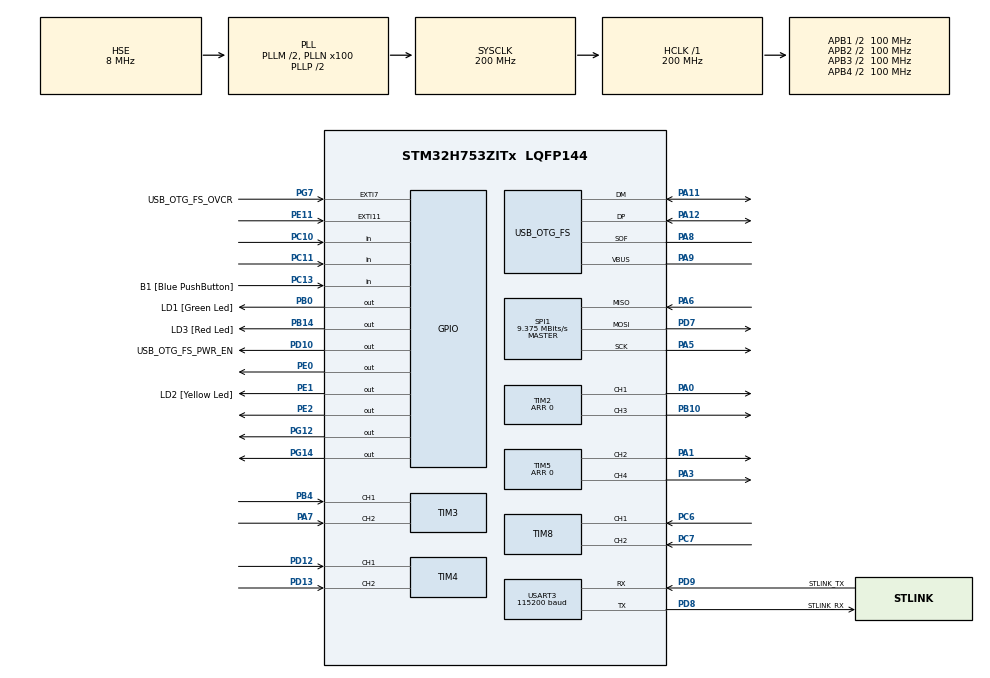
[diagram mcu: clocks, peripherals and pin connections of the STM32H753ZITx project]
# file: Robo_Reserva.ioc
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CORTEX_M7.CPU_DCache=Disabled
CORTEX_M7.CPU_ICache=Disabled
CORTEX_M7.MPU_Control=__NULL
Dma.Request0=TIM2_CH1
Dma.Request1=TIM2_CH3
Dma.Request2=TIM5_CH2
Dma.Request3=TIM5_CH4
Dma.TIM2_CH1.0.Direction=DMA_MEMORY_TO_PERIPH
Dma.TIM2_CH1.0.EventEnable=DISABLE
Dma.TIM2_CH1.0.FIFOMode=DMA_FIFOMODE_ENABLE
Dma.TIM2_CH1.0.FIFOThreshold=DMA_FIFO_THRESHOLD_1QUARTERFULL
Dma.TIM2_CH1.0.Instance=DMA1_Stream5
Dma.TIM2_CH1.0.MemBurst=DMA_MBURST_SINGLE
Dma.TIM2_CH1.0.MemDataAlignment=DMA_MDATAALIGN_WORD
Dma.TIM2_CH1.0.MemInc=DMA_MINC_ENABLE
Dma.TIM2_CH1.0.Mode=DMA_NORMAL
Dma.TIM2_CH1.0.PeriphBurst=DMA_PBURST_SINGLE
Dma.TIM2_CH1.0.PeriphDataAlignment=DMA_PDATAALIGN_WORD
Dma.TIM2_CH1.0.PeriphInc=DMA_PINC_DISABLE
Dma.TIM2_CH1.0.Polarity=HAL_DMAMUX_REQ_GEN_RISING
Dma.TIM2_CH1.0.Priority=DMA_PRIORITY_HIGH
Dma.TIM2_CH1.0.RequestNumber=1
Dma.TIM2_CH1.0.SignalID=NONE
Dma.TIM2_CH1.0.SyncEnable=DISABLE
Dma.TIM2_CH1.0.SyncPolarity=HAL_DMAMUX_SYNC_NO_EVENT
Dma.TIM2_CH1.0.SyncRequestNumber=1
Dma.TIM2_CH1.0.SyncSignalID=NONE
Dma.TIM2_CH3.1.Direction=DMA_MEMORY_TO_PERIPH
Dma.TIM2_CH3.1.EventEnable=DISABLE
Dma.TIM2_CH3.1.FIFOMode=DMA_FIFOMODE_ENABLE
Dma.TIM2_CH3.1.FIFOThreshold=DMA_FIFO_THRESHOLD_1QUARTERFULL
Dma.TIM2_CH3.1.Instance=DMA1_Stream1
Dma.TIM2_CH3.1.MemBurst=DMA_MBURST_SINGLE
Dma.TIM2_CH3.1.MemDataAlignment=DMA_MDATAALIGN_WORD
Dma.TIM2_CH3.1.MemInc=DMA_MINC_ENABLE
Dma.TIM2_CH3.1.Mode=DMA_NORMAL
Dma.TIM2_CH3.1.PeriphBurst=DMA_PBURST_SINGLE
Dma.TIM2_CH3.1.PeriphDataAlignment=DMA_PDATAALIGN_WORD
Dma.TIM2_CH3.1.PeriphInc=DMA_PINC_DISABLE
Dma.TIM2_CH3.1.Polarity=HAL_DMAMUX_REQ_GEN_RISING
Dma.TIM2_CH3.1.Priority=DMA_PRIORITY_HIGH
Dma.TIM2_CH3.1.RequestNumber=1
Dma.TIM2_CH3.1.SignalID=NONE
Dma.TIM2_CH3.1.SyncEnable=DISABLE
Dma.TIM2_CH3.1.SyncPolarity=HAL_DMAMUX_SYNC_NO_EVENT
Dma.TIM2_CH3.1.SyncRequestNumber=1
Dma.TIM2_CH3.1.SyncSignalID=NONE
Dma.TIM5_CH2.2.Direction=DMA_MEMORY_TO_PERIPH
Dma.TIM5_CH2.2.EventEnable=DISABLE
Dma.TIM5_CH2.2.FIFOMode=DMA_FIFOMODE_ENABLE
Dma.TIM5_CH2.2.FIFOThreshold=DMA_FIFO_THRESHOLD_1QUARTERFULL
Dma.TIM5_CH2.2.Instance=DMA1_Stream4
Dma.TIM5_CH2.2.MemBurst=DMA_MBURST_SINGLE
Dma.TIM5_CH2.2.MemDataAlignment=DMA_MDATAALIGN_WORD
Dma.TIM5_CH2.2.MemInc=DMA_MINC_ENABLE
Dma.TIM5_CH2.2.Mode=DMA_NORMAL
Dma.TIM5_CH2.2.PeriphBurst=DMA_PBURST_SINGLE
Dma.TIM5_CH2.2.PeriphDataAlignment=DMA_PDATAALIGN_WORD
Dma.TIM5_CH2.2.PeriphInc=DMA_PINC_DISABLE
Dma.TIM5_CH2.2.Polarity=HAL_DMAMUX_REQ_GEN_RISING
Dma.TIM5_CH2.2.Priority=DMA_PRIORITY_HIGH
Dma.TIM5_CH2.2.RequestNumber=1
Dma.TIM5_CH2.2.SignalID=NONE
Dma.TIM5_CH2.2.SyncEnable=DISABLE
Dma.TIM5_CH2.2.SyncPolarity=HAL_DMAMUX_SYNC_NO_EVENT
Dma.TIM5_CH2.2.SyncRequestNumber=1
Dma.TIM5_CH2.2.SyncSignalID=NONE
Dma.TIM5_CH4.3.Direction=DMA_MEMORY_TO_PERIPH
Dma.TIM5_CH4.3.EventEnable=DISABLE
Dma.TIM5_CH4.3.FIFOMode=DMA_FIFOMODE_ENABLE
Dma.TIM5_CH4.3.FIFOThreshold=DMA_FIFO_THRESHOLD_1QUARTERFULL
Dma.TIM5_CH4.3.Instance=DMA1_Stream3
Dma.TIM5_CH4.3.MemBurst=DMA_MBURST_SINGLE
Dma.TIM5_CH4.3.MemDataAlignment=DMA_MDATAALIGN_WORD
Dma.TIM5_CH4.3.MemInc=DMA_MINC_ENABLE
Dma.TIM5_CH4.3.Mode=DMA_NORMAL
Dma.TIM5_CH4.3.PeriphBurst=DMA_PBURST_SINGLE
Dma.TIM5_CH4.3.PeriphDataAlignment=DMA_PDATAALIGN_WORD
Dma.TIM5_CH4.3.PeriphInc=DMA_PINC_DISABLE
Dma.TIM5_CH4.3.Polarity=HAL_DMAMUX_REQ_GEN_RISING
Dma.TIM5_CH4.3.Priority=DMA_PRIORITY_HIGH
Dma.TIM5_CH4.3.RequestNumber=1
Dma.TIM5_CH4.3.SignalID=NONE
Dma.TIM5_CH4.3.SyncEnable=DISABLE
Dma.TIM5_CH4.3.SyncPolarity=HAL_DMAMUX_SYNC_NO_EVENT
Dma.TIM5_CH4.3.SyncRequestNumber=1
Dma.TIM5_CH4.3.SyncSignalID=NONE
Mcu.Family=STM32H7
Mcu.Name=STM32H753ZITx
Mcu.Package=LQFP144
NVIC.DMA1_Stream1_IRQn=true\:0\:0\:false\:false\:true\:false\:true\:true
NVIC.DMA1_Stream3_IRQn=true\:0\:0\:false\:false\:true\:false\:true\:true
NVIC.DMA1_Stream4_IRQn=true\:0\:0\:false\:false\:true\:false\:true\:true
NVIC.DMA1_Stream5_IRQn=true\:0\:0\:false\:false\:true\:false\:true\:true
NVIC.EXTI15_10_IRQn=true\:0\:0\:false\:false\:true\:true\:true\:true
NVIC.OTG_FS_IRQn=true\:0\:0\:false\:false\:true\:false\:true\:true
NVIC.PriorityGroup=NVIC_PRIORITYGROUP_4
NVIC.TIM15_IRQn=true\:0\:0\:false\:false\:true\:true\:true\:true
PA0.Signal=S_TIM2_CH1_ETR
PA1.Signal=S_TIM5_CH2
PA11.Mode=Device_Only
PA11.Signal=USB_OTG_FS_DM
PA12.Mode=Device_Only
PA12.Signal=USB_OTG_FS_DP
PA3.Signal=S_TIM5_CH4
PA5.Mode=Full_Duplex_Master
PA5.Signal=SPI1_SCK
PA6.Mode=Full_Duplex_Master
PA6.Signal=SPI1_MISO
PA7.Signal=S_TIM3_CH2
PA8.Mode=Activate_SOF_FS
PA8.Signal=USB_OTG_FS_SOF
PA9.Mode=Activate_VBUS
PA9.Signal=USB_OTG_FS_VBUS
PB0.GPIO_Label=LD1 [Green Led]
PB0.Signal=GPIO_Output
PB10.Signal=S_TIM2_CH3
PB14.GPIO_Label=LD3 [Red Led]
PB14.Signal=GPIO_Output
PB4\ (NJTRST).Signal=S_TIM3_CH1
PC10.GPIO_PuPd=GPIO_PULLDOWN
PC10.Signal=GPIO_Input
PC11.GPIO_PuPd=GPIO_PULLDOWN
PC11.Signal=GPIO_Input
PC13.GPIO_Label=B1 [Blue PushButton]
PC13.Signal=GPIO_Input
PC14-OSC32_IN\ (OSC32_IN).Mode=LSE-External-Oscillator
PC14-OSC32_IN\ (OSC32_IN).Signal=RCC_OSC32_IN
PC15-OSC32_OUT\ (OSC32_OUT).Mode=LSE-External-Oscillator
PC15-OSC32_OUT\ (OSC32_OUT).Signal=RCC_OSC32_OUT
PC6.Signal=S_TIM8_CH1
PC7.Signal=S_TIM8_CH2
PD10.GPIO_Label=USB_OTG_FS_PWR_EN
PD10.Signal=GPIO_Output
PD12.Signal=S_TIM4_CH1
PD13.Signal=S_TIM4_CH2
PD7.Mode=Full_Duplex_Master
PD7.Signal=SPI1_MOSI
PD8.GPIO_Label=STLINK_RX
PD8.Mode=Asynchronous
PD8.Signal=USART3_TX
PD9.GPIO_Label=STLINK_TX
PD9.Mode=Asynchronous
PD9.Signal=USART3_RX
PE0.Signal=GPIO_Output
PE1.GPIO_Label=LD2 [Yellow Led]
PE1.Signal=GPIO_Output
PE11.Signal=GPXTI11
PE2.Signal=GPIO_Output
PG12.Signal=GPIO_Output
PG14.Signal=GPIO_Output
PG7.GPIO_Label=USB_OTG_FS_OVCR
PG7.Signal=GPXTI7
PH0-OSC_IN\ (PH0).Mode=HSE-External-Clock-Source
PH0-OSC_IN\ (PH0).Signal=RCC_OSC_IN
PH1-OSC_OUT\ (PH1).Signal=RCC_OSC_OUT
ProjectManager.HeapSize=0x200
ProjectManager.StackSize=0x400
ProjectManager.TargetToolchain=STM32CubeIDE
RCC.ADCCLockSelection=RCC_ADCCLKSOURCE_PLL2
RCC.ADCFreq_Value=75000000
RCC.APB1Freq_Value=100000000
RCC.APB2Freq_Value=100000000
RCC.APB3Freq_Value=100000000
RCC.APB4Freq_Value=100000000
RCC.CECCLockSelection=RCC_CECCLKSOURCE_LSI
RCC.CKPERSourceSelection=RCC_CLKPSOURCE_HSI
RCC.CSI_VALUE=4000000
RCC.CortexFreq_Value=200000000
RCC.Cortex_Div=SYSTICK_CLKSOURCE_HCLK
RCC.Cortex_DivARG=SystemCoreClock/1000
RCC.D1CPRE=RCC_SYSCLK_DIV1
RCC.D1PPRE=RCC_APB3_DIV2
RCC.D2PPRE1=RCC_APB1_DIV2
RCC.D2PPRE2=RCC_APB2_DIV2
RCC.D3PPRE=RCC_APB4_DIV2
RCC.DFSDMCLockSelection=RCC_DFSDM1CLKSOURCE_D2PCLK1
RCC.DIVM1=2
RCC.DIVM2=8
RCC.DIVM3=32
RCC.DIVN1=100
RCC.DIVN2=150
RCC.DIVN3=129
RCC.DIVP2=2
RCC.DIVP3=2
RCC.DIVQ1=4
RCC.DIVQ2=2
RCC.DIVQ3=2
RCC.DIVR1=2
RCC.DIVR2=2
RCC.DIVR3=2
RCC.DSICLockSelection=RCC_DSICLKSOURCE_PHY
RCC.DSIPHY_Div=8
RCC.DSITX_Div=4
RCC.DSI_PHY_VALUE=12288000
RCC.EXTERNAL_CLOCK_VALUE=12288000
RCC.FDCANCLockSelection=RCC_FDCANCLKSOURCE_PLL
RCC.FMCCLockSelection=RCC_FMCCLKSOURCE_D1HCLK
RCC.HCLKFreq_Value=200000000
RCC.HPRE=RCC_HCLK_DIV1
RCC.HSE_VALUE=8000000
RCC.HSIDiv=RCC_PLLSAIDIVR_1
RCC.HSI_VALUE=64000000
RCC.I2C123CLockSelection=RCC_I2C123CLKSOURCE_D2PCLK1
RCC.I2C4CLockSelection=RCC_I2C4CLKSOURCE_D3PCLK1
RCC.LPTIM1CLockSelection=RCC_LPTIM1CLKSOURCE_D2PCLK1
RCC.LPTIM2CLockSelection=RCC_LPTIM2CLKSOURCE_D3PCLK1
RCC.LPTIM345CLockSelection=RCC_LPTIM345CLKSOURCE_D3PCLK1
RCC.LPUART1CLockSelection=RCC_LPUART1CLKSOURCE_D3PCLK1
RCC.PLL1_VCI_Range-AdvancedSettings=RCC_PLL1VCIRANGE_0
RCC.PLL2FRACN=0
RCC.PLL2_VCI_Range-AdvancedSettings=RCC_PLL2VCIRANGE_0
RCC.PLL3_VCI_Range-AdvancedSettings=RCC_PLL3VCIRANGE_0
RCC.PLLDSIDev=2
RCC.PLLDSIIDF=DSI_PLL_IN_DIV1
RCC.PLLDSIMult=2
RCC.PLLDSINDIV=20
RCC.PLLDSIODF=DSI_PLL_OUT_DIV1
RCC.PLLFRACN=0
RCC.PLLSourceVirtual=RCC_PLLSOURCE_HSE
RCC.PWR_Regulator_Voltage_Scale=PWR_REGULATOR_VOLTAGE_SCALE2
RCC.QSPICLockSelection=RCC_QSPICLKSOURCE_D1HCLK
RCC.RC48_VALUE=48000000
RCC.RCC_MCO1Source=RCC_MCO1SOURCE_HSI
RCC.RCC_MCO2Source=RCC_MCO2SOURCE_SYSCLK
RCC.RCC_MCODiv1=RCC_MCODIV_1
RCC.RCC_MCODiv2=RCC_MCODIV_1
RCC.RCC_RTC_Clock_Source_FROM_HSE=RCC_RTCCLKSOURCE_HSE_DIV2
RCC.RNGCLockSelection=RCC_RNGCLKSOURCE_HSI48
RCC.SAI1CLockSelection=RCC_SAI1CLKSOURCE_PLL
RCC.SAI23CLockSelection=RCC_SAI23CLKSOURCE_PLL
RCC.SAI4ACLockSelection=RCC_SAI4ACLKSOURCE_PLL
RCC.SAI4BCLockSelection=RCC_SAI4BCLKSOURCE_PLL
RCC.SPDIFCLockSelection=RCC_SPDIFRXCLKSOURCE_PLL
RCC.SPI123CLockSelection=RCC_SPI123CLKSOURCE_PLL2
RCC.SPI6CLockSelection=RCC_SPI6CLKSOURCE_D3PCLK1
RCC.SWPCLockSelection=RCC_SWPMI1CLKSOURCE_D2PCLK1
RCC.SYSCLKFreq_VALUE=200000000
RCC.SYSCLKSource=RCC_SYSCLKSOURCE_PLLCLK
RCC.Spi45ClockSelection=RCC_SPI45CLKSOURCE_D2PCLK1
RCC.SupplySource=PWR_LDO_SUPPLY
RCC.USART16CLockSelection=RCC_USART16CLKSOURCE_D2PCLK2
RCC.USART234578CLockSelection=RCC_USART234578CLKSOURCE_PLL2
RCC.USBCLockSelection=RCC_USBCLKSOURCE_HSI48
RCC.USBFreq_Value=48000000
SH.S_TIM2_CH1_ETR.0=TIM2_CH1,PWM Generation1 CH1
SH.S_TIM2_CH3.0=TIM2_CH3,PWM Generation3 CH3
SH.S_TIM3_CH1.0=TIM3_CH1,Encoder_Interface
SH.S_TIM3_CH2.0=TIM3_CH2,Encoder_Interface
SH.S_TIM4_CH1.0=TIM4_CH1,Encoder_Interface
SH.S_TIM4_CH2.0=TIM4_CH2,Encoder_Interface
SH.S_TIM5_CH2.0=TIM5_CH2,PWM Generation2 CH2
SH.S_TIM5_CH4.0=TIM5_CH4,PWM Generation4 CH4
SH.S_TIM8_CH1.0=TIM8_CH1,Encoder_Interface
SH.S_TIM8_CH2.0=TIM8_CH2,Encoder_Interface
SPI1.BaudRatePrescaler=SPI_BAUDRATEPRESCALER_8
SPI1.CalculateBaudRate=9.375 MBits/s
SPI1.DataSize=SPI_DATASIZE_8BIT
SPI1.Direction=SPI_DIRECTION_2LINES
SPI1.Mode=SPI_MODE_MASTER
SPI1.VirtualType=VM_MASTER
TIM15.Period=99
TIM15.Prescaler=19999
TIM2.Channel-PWM\ Generation1\ CH1=TIM_CHANNEL_1
TIM2.Channel-PWM\ Generation3\ CH3=TIM_CHANNEL_3
TIM2.Period=0
TIM3.EncoderMode=TIM_ENCODERMODE_TI12
TIM3.IC1Polarity=TIM_ICPOLARITY_FALLING
TIM3.IC2Polarity=TIM_ICPOLARITY_FALLING
TIM4.EncoderMode=TIM_ENCODERMODE_TI12
TIM4.IC1Polarity=TIM_ICPOLARITY_FALLING
TIM4.IC2Polarity=TIM_ICPOLARITY_FALLING
TIM5.Channel-PWM\ Generation2\ CH2=TIM_CHANNEL_2
TIM5.Channel-PWM\ Generation4\ CH4=TIM_CHANNEL_4
TIM5.Period=0
TIM8.EncoderMode=TIM_ENCODERMODE_TI12
TIM8.IC1Polarity=TIM_ICPOLARITY_FALLING
TIM8.IC2Polarity=TIM_ICPOLARITY_FALLING
USART3.AutoBaudRateEnableParam=UART_ADVFEATURE_AUTOBAUDRATE_DISABLE
USART3.BaudRate=115200
USART3.ClockPrescaler=PRESCALER_DIV1
USART3.DMADisableonRxErrorParam=ADVFEATURE_DMA_ENABLEONRXERROR
USART3.DataInvertParam=ADVFEATURE_DATAINV_DISABLE
USART3.FIFOMode=FIFOMODE_DISABLE
USART3.MSBFirstParam=ADVFEATURE_MSBFIRST_DISABLE
USART3.Mode=MODE_TX_RX
USART3.OneBitSampling=UART_ONE_BIT_SAMPLE_DISABLE
USART3.OverSampling=UART_OVERSAMPLING_16
USART3.OverrunDisableParam=ADVFEATURE_OVERRUN_ENABLE
USART3.Parity=PARITY_NONE
USART3.RXFIFOThreshold=RXFIFO_THRESHOLD_1EIGHTHFULL
USART3.RxPinLevelInvertParam=ADVFEATURE_RXINV_DISABLE
USART3.StopBits=STOPBITS_1
USART3.SwapParam=ADVFEATURE_SWAP_DISABLE
USART3.TXFIFOThreshold=TXFIFO_THRESHOLD_1EIGHTHFULL
USART3.TxPinLevelInvertParam=ADVFEATURE_TXINV_DISABLE
USART3.VirtualMode-Asynchronous=VM_ASYNC
USART3.WordLength=WORDLENGTH_8B
USB_DEVICE.CLASS_NAME_FS=CDC
USB_DEVICE.VirtualMode-CDC_FS=Cdc
USB_DEVICE.VirtualModeFS=Cdc_FS
USB_OTG_FS.Sof_enable=ENABLE
USB_OTG_FS.VirtualMode=Device_Only
USB_OTG_FS.battery_charging_enable=ENABLE
USB_OTG_FS.low_power_enable=DISABLE
USB_OTG_FS.lpm_enable=DISABLE
USB_OTG_FS.use_dedicated_ep1=DISABLE
USB_OTG_FS.vbus_sensing_enable=ENABLE
VP_TIM15_VS_ClockSourceINT.Mode=Internal
VP_USB_DEVICE_VS_USB_DEVICE_CDC_FS.Mode=CDC_FS
board=NUCLEO-H753ZI

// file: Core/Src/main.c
/* USER CODE BEGIN Header */
/**
  ******************************************************************************
  * @file           : main.c
  * @brief          : Main program body
  ******************************************************************************
  * @attention
  *
  * Copyright (c) 2024 STMicroelectronics.
  * All rights reserved.
  *
  * This software is licensed under terms that can be found in the LICENSE file
  * in the root directory of this software component.
  * If no LICENSE file comes with this software, it is provided AS-IS.
  *
  ******************************************************************************
  */
/* USER CODE END Header */
#include "main.h"
#include "dma.h"
#include "spi.h"
#include "tim.h"
#include "usart.h"
#include "usb_device.h"
#include "gpio.h"

/* USER CODE BEGIN Includes */
#include "dshot.h"
#include "string.h"
#include "nrf24l01.h"
/* USER CODE END Includes */

/* USER CODE BEGIN PV */
int RxData[6] = {0,0,0,0,0,0};
int Ack_data = 1;
int vet_senhas[6]= {111,112,113,114,115,116};
int senhas[2] = {0,0};
int old_mensagem[6]={0,0,0,0,0,0};
uint32_t contador =0;
float velocidade[4]={0,0,0,0};
float ref[4] = {0,0,0,0};
uint16_t motores[4] = {0,0,0,0};
/* USER CODE END PV */

void SystemClock_Config(void);
void PeriphCommonClock_Config(void);

/* USER CODE BEGIN 0 */
void Tx_mode(uint8_t Adress[5]){

	if(NRF_Init(&hspi1, GPIOG, GPIO_PIN_12, GPIOG, GPIO_PIN_14) != NRF_OK){
		Error_Handler();
	}

	NRF_Reset();
	NRF_WriteRegister(NRF_REG_TX_ADDR,Adress,5);
	//Para enviar a mensagem usar função transmitandwait
}

void Rx_mode(uint8_t Adress[5]){

	if(NRF_Init(&hspi1, GPIOG, GPIO_PIN_12, GPIOG, GPIO_PIN_14) != NRF_OK){
		Error_Handler();
	}

	NRF_Reset();

	NRF_WriteRegister(NRF_REG_RX_ADDR_P0,Adress,5);

	NRF_WriteRegisterByte(NRF_REG_RX_PW_P0,sizeof(RxData));

	NRF_EnterMode(NRF_MODE_RX);
}

NRF_Status ReceiveData (uint8_t *data, uint32_t len){
	NRF_Status ret = NRF_ERROR;
	uint8_t status = NRF_ReadStatus();
	uint8_t STATUS_REGISTER_RX_DR_BIT = 6;
	if(status & (1<<STATUS_REGISTER_RX_DR_BIT)){
		NRF_ReadPayload(data,len);
		ret = NRF_OK;
		NRF_SetRegisterBit(NRF_REG_STATUS, 6);
	} else {
		ret = NRF_ERROR;
	}
	return ret;
}
/* USER CODE END 0 */

int main(void)
{

  /* MCU Configuration--------------------------------------------------------*/

  /* Reset of all peripherals, Initializes the Flash interface and the Systick. */
  HAL_Init();

  /* Configure the system clock */
  SystemClock_Config();

/* Configure the peripherals common clocks */
  PeriphCommonClock_Config();

  /* Initialize all configured peripherals */
  MX_GPIO_Init();
  MX_DMA_Init();
  MX_SPI1_Init();
  MX_USB_DEVICE_Init();
  MX_TIM3_Init();
  MX_TIM4_Init();
  MX_TIM8_Init();
  MX_TIM2_Init();
  MX_TIM5_Init();
  MX_USART3_UART_Init();
  MX_TIM15_Init();
  /* USER CODE BEGIN 2 */
  HAL_TIM_Encoder_Start_IT(&htim4, TIM_CHANNEL_ALL);
  //HAL_TIM_Encoder_Start_IT(&htim1, TIM_CHANNEL_ALL);
  HAL_TIM_Encoder_Start_IT(&htim8, TIM_CHANNEL_ALL);
  HAL_TIM_Encoder_Start_IT(&htim3, TIM_CHANNEL_ALL);
  if (HAL_TIM_Base_Start_IT(&htim15) != HAL_OK)
    	    {
    	      /* Starting Error */
    	      Error_Handler();
    	    }
    	  dshot_init(DSHOT300);
  /* USER CODE END 2 */

  /* Infinite loop */
  /* USER CODE BEGIN WHILE */
  GPIO_PinState PinState[2];

      //definicao do robo por meio da entrada de tensao no pinc10 e Pinc11//
      PinState[0]= HAL_GPIO_ReadPin(GPIOC,GPIO_PIN_10);
      PinState[1]= HAL_GPIO_ReadPin(GPIOC,GPIO_PIN_11);

      uint8_t TxAdress0[] = {1,2,3,4,5};
      Rx_mode(TxAdress0);
      if((PinState[0]==0)&&(PinState[1]==0)){
    	  NRF_WriteRegisterByte(NRF_REG_RF_CH,0x07); // Canal 3
    	  for(uint8_t k=0;k<2;k++){
    		  senhas[k] = vet_senhas[k];
    	  }
      }
      if(PinState[0]==1){
    	  NRF_WriteRegisterByte(NRF_REG_RF_CH,0x03); // Canal 4
    	  HAL_GPIO_TogglePin(GPIOE, GPIO_PIN_0);
    	  for(uint8_t k=0;k<2;k++){
    		  senhas[k] = vet_senhas[k+2];
    	  	  }
      }
      if(PinState[1]==1){
    	  NRF_WriteRegisterByte(NRF_REG_RF_CH,0x05); //Canal 5
    	  HAL_GPIO_TogglePin(GPIOE, GPIO_PIN_2);
    	  for(uint8_t k=0;k<2;k++){
    		  	  senhas[k] = vet_senhas[k+4];
    	  	  }
      }
      NRF_Status ret = NRF_OK;
      char message[100]={'\0'};
          //Inicializa referencia como zero
	  HAL_Delay(5000);

	  uint32_t Leitura= 0;
	  float Leitura2 = 0;
	  extern volatile float vel[4];
	  //extern volatile float u[4];
	  //extern volatile float error[4];
	  uint32_t contador = 0;
	  extern volatile uint32_t count;
  while (1)
  {
	 ret = ReceiveData(RxData, sizeof(RxData));
	 if(ret == NRF_OK){
		 HAL_GPIO_TogglePin(GPIOB, GPIO_PIN_0);
	 }
	 if((RxData[0]==senhas[0])&&(RxData[5]==senhas[1])){
	  		for(uint8_t n=0;n<6;n++){
	  		  old_mensagem[n] = RxData[n];
	  		}
	  	  }
	 for(uint8_t n=0; n<4;n++){
		 ref[n] = (float)old_mensagem[n+1]/100;
		 //ref[n] = 3;
	   	  }
	 //print para o puttyW
	  sprintf(message, "%f %f %f %f\n \r",vel[0],vel[1],vel[2],vel[3]);
	  CDC_Transmit_FS(message,sizeof(message));
    /* USER CODE END WHILE */

    /* USER CODE BEGIN 3 */
	HAL_Delay(5);
  }
  /* USER CODE END 3 */
}

void SystemClock_Config(void)
{
  RCC_OscInitTypeDef RCC_OscInitStruct = {0};
  RCC_ClkInitTypeDef RCC_ClkInitStruct = {0};

  /** Supply configuration update enable
  */
  HAL_PWREx_ConfigSupply(PWR_LDO_SUPPLY);

  /** Configure the main internal regulator output voltage
  */
  __HAL_PWR_VOLTAGESCALING_CONFIG(PWR_REGULATOR_VOLTAGE_SCALE2);

  while(!__HAL_PWR_GET_FLAG(PWR_FLAG_VOSRDY)) {}

  /** Initializes the RCC Oscillators according to the specified parameters
  * in the RCC_OscInitTypeDef structure.
  */
  RCC_OscInitStruct.OscillatorType = RCC_OSCILLATORTYPE_HSI48|RCC_OSCILLATORTYPE_HSE;
  RCC_OscInitStruct.HSEState = RCC_HSE_BYPASS;
  RCC_OscInitStruct.HSI48State = RCC_HSI48_ON;
  RCC_OscInitStruct.PLL.PLLState = RCC_PLL_ON;
  RCC_OscInitStruct.PLL.PLLSource = RCC_PLLSOURCE_HSE;
  RCC_OscInitStruct.PLL.PLLM = 2;
  RCC_OscInitStruct.PLL.PLLN = 100;
  RCC_OscInitStruct.PLL.PLLP = 2;
  RCC_OscInitStruct.PLL.PLLQ = 4;
  RCC_OscInitStruct.PLL.PLLR = 2;
  RCC_OscInitStruct.PLL.PLLRGE = RCC_PLL1VCIRANGE_2;
  RCC_OscInitStruct.PLL.PLLVCOSEL = RCC_PLL1VCOWIDE;
  RCC_OscInitStruct.PLL.PLLFRACN = 0;
  if (HAL_RCC_OscConfig(&RCC_OscInitStruct) != HAL_OK)
  {
    Error_Handler();
  }

  /** Initializes the CPU, AHB and APB buses clocks
  */
  RCC_ClkInitStruct.ClockType = RCC_CLOCKTYPE_HCLK|RCC_CLOCKTYPE_SYSCLK
                              |RCC_CLOCKTYPE_PCLK1|RCC_CLOCKTYPE_PCLK2
                              |RCC_CLOCKTYPE_D3PCLK1|RCC_CLOCKTYPE_D1PCLK1;
  RCC_ClkInitStruct.SYSCLKSource = RCC_SYSCLKSOURCE_PLLCLK;
  RCC_ClkInitStruct.SYSCLKDivider = RCC_SYSCLK_DIV1;
  RCC_ClkInitStruct.AHBCLKDivider = RCC_HCLK_DIV1;
  RCC_ClkInitStruct.APB3CLKDivider = RCC_APB3_DIV2;
  RCC_ClkInitStruct.APB1CLKDivider = RCC_APB1_DIV2;
  RCC_ClkInitStruct.APB2CLKDivider = RCC_APB2_DIV2;
  RCC_ClkInitStruct.APB4CLKDivider = RCC_APB4_DIV2;

  if (HAL_RCC_ClockConfig(&RCC_ClkInitStruct, FLASH_LATENCY_3) != HAL_OK)
  {
    Error_Handler();
  }
}

void PeriphCommonClock_Config(void)
{
  RCC_PeriphCLKInitTypeDef PeriphClkInitStruct = {0};

  /** Initializes the peripherals clock
  */
  PeriphClkInitStruct.PeriphClockSelection = RCC_PERIPHCLK_SPI1|RCC_PERIPHCLK_USART3;
  PeriphClkInitStruct.PLL2.PLL2M = 8;
  PeriphClkInitStruct.PLL2.PLL2N = 150;
  PeriphClkInitStruct.PLL2.PLL2P = 2;
  PeriphClkInitStruct.PLL2.PLL2Q = 2;
  PeriphClkInitStruct.PLL2.PLL2R = 2;
  PeriphClkInitStruct.PLL2.PLL2RGE = RCC_PLL2VCIRANGE_0;
  PeriphClkInitStruct.PLL2.PLL2VCOSEL = RCC_PLL2VCOMEDIUM;
  PeriphClkInitStruct.PLL2.PLL2FRACN = 0;
  PeriphClkInitStruct.Spi123ClockSelection = RCC_SPI123CLKSOURCE_PLL2;
  PeriphClkInitStruct.Usart234578ClockSelection = RCC_USART234578CLKSOURCE_PLL2;
  if (HAL_RCCEx_PeriphCLKConfig(&PeriphClkInitStruct) != HAL_OK)
  {
    Error_Handler();
  }
}

void Error_Handler(void)
{
  __disable_irq();
  while (1)
  {
  }
}
